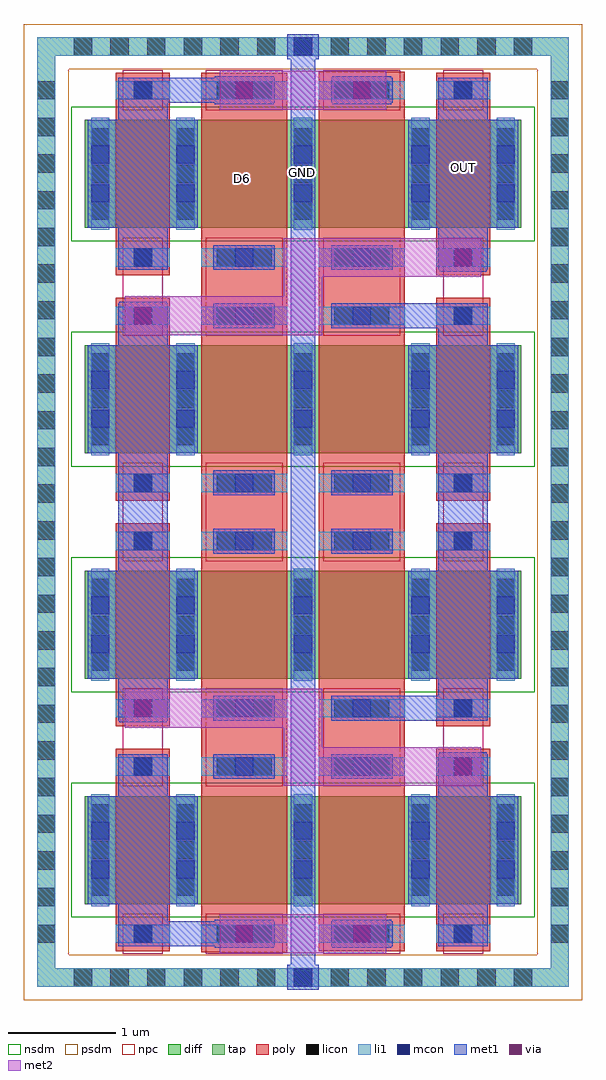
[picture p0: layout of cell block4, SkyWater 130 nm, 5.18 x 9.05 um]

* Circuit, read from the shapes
.subckt block4 D6 GND OUT
XM1 D6 D6 D6 GND sky130_fd_pr__nfet_01v8 w=1 l=0.5 m=4
XM2 OUT OUT OUT GND sky130_fd_pr__nfet_01v8 w=1 l=0.5 m=4
XM3 GND D6 D6 GND sky130_fd_pr__nfet_01v8 w=1 l=0.8 m=4
XM4 GND D6 OUT GND sky130_fd_pr__nfet_01v8 w=1 l=0.8 m=4
.ends

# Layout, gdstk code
import gdstk
lib = gdstk.Library(unit=1e-6, precision=1e-09)
def R(c, l, rs):  # rectangles x0, y0, x1, y1
    for r in rs: c.add(gdstk.rectangle(r[:2], r[2:], *l))
def A(c, l, x, y, w, h, nx, ny, dx, dy):  # array of equal rectangles
    R(c, l, [(x+i*dx, y+j*dy, x+i*dx+w, y+j*dy+h) for i in range(nx) for j in range(ny)])
diff = (65, 20)
tap = (65, 44)
poly = (66, 20)
licon = (66, 44)
li1 = (67, 20)
mcon = (67, 44)
met1 = (68, 20)
via = (68, 44)
met2 = (69, 20)
nsdm = (93, 44)
psdm = (94, 20)
npc = (95, 20)

sky130_fd_pr__nfet_01v8_ = lib.new_cell('sky130_fd_pr__nfet_01v8_V6EN4H')
A(sky130_fd_pr__nfet_01v8_, diff, -0.54, -3.635, 1.08, 1, 1, 4, 0, 2.09)
A(sky130_fd_pr__nfet_01v8_, poly, -0.25, -4.075, 0.5, 1.88, 1, 4, 0, 2.09)
A(sky130_fd_pr__nfet_01v8_, licon, -0.48, -3.56, 0.17, 0.17, 1, 3, 0, 0.34)
A(sky130_fd_pr__nfet_01v8_, licon, 0.31, -3.56, 0.17, 0.17, 1, 3, 0, 0.34)
A(sky130_fd_pr__nfet_01v8_, licon, -0.48, -1.47, 0.17, 0.17, 1, 3, 0, 0.34)
A(sky130_fd_pr__nfet_01v8_, licon, 0.31, -1.47, 0.17, 0.17, 1, 3, 0, 0.34)
A(sky130_fd_pr__nfet_01v8_, licon, -0.48, 0.62, 0.17, 0.17, 1, 3, 0, 0.34)
A(sky130_fd_pr__nfet_01v8_, licon, 0.31, 0.62, 0.17, 0.17, 1, 3, 0, 0.34)
A(sky130_fd_pr__nfet_01v8_, licon, -0.48, 2.71, 0.17, 0.17, 1, 3, 0, 0.34)
A(sky130_fd_pr__nfet_01v8_, licon, 0.31, 2.71, 0.17, 0.17, 1, 3, 0, 0.34)
R(sky130_fd_pr__nfet_01v8_, licon, [(-0.085,-3.995,0.085,-3.825), (-0.085,-2.445,0.085,-2.275), (-0.085,-1.905,0.085,-1.735), (-0.085,-0.355,0.085,-0.185), (-0.085,0.185,0.085,0.355), (-0.085,1.735,0.085,1.905), (-0.085,2.275,0.085,2.445), (-0.085,3.825,0.085,3.995)])
A(sky130_fd_pr__nfet_01v8_, li1, -0.48, -3.655, 0.17, 1.04, 1, 4, 0, 2.09)
A(sky130_fd_pr__nfet_01v8_, li1, 0.31, -3.655, 0.17, 1.04, 1, 4, 0, 2.09)
R(sky130_fd_pr__nfet_01v8_, li1, [(-0.25,-3.995,0.25,-3.825), (-0.25,-2.445,0.25,-2.275), (-0.25,-1.905,0.25,-1.735), (-0.25,-0.355,0.25,-0.185), (-0.25,0.185,0.25,0.355), (-0.25,1.735,0.25,1.905), (-0.25,2.275,0.25,2.445), (-0.25,3.825,0.25,3.995)])
R(sky130_fd_pr__nfet_01v8_, mcon, [(-0.085,-3.995,0.085,-3.825), (-0.48,-3.4,-0.31,-3.23), (0.31,-3.4,0.48,-3.23), (-0.48,-3.04,-0.31,-2.87), (0.31,-3.04,0.48,-2.87), (-0.085,-2.445,0.085,-2.275), (-0.085,-1.905,0.085,-1.735), (-0.48,-1.31,-0.31,-1.14), (0.31,-1.31,0.48,-1.14), (-0.48,-0.95,-0.31,-0.78), (0.31,-0.95,0.48,-0.78), (-0.085,-0.355,0.085,-0.185), (-0.085,0.185,0.085,0.355), (-0.48,0.78,-0.31,0.95), (0.31,0.78,0.48,0.95), (-0.48,1.14,-0.31,1.31), (0.31,1.14,0.48,1.31), (-0.085,1.735,0.085,1.905), (-0.085,2.275,0.085,2.445), (-0.48,2.87,-0.31,3.04), (0.31,2.87,0.48,3.04), (-0.48,3.23,-0.31,3.4), (0.31,3.23,0.48,3.4), (-0.085,3.825,0.085,3.995)])
A(sky130_fd_pr__nfet_01v8_, met1, -0.51, -3.635, 0.23, 1, 1, 4, 0, 2.09)
A(sky130_fd_pr__nfet_01v8_, met1, 0.28, -3.635, 0.23, 1, 1, 4, 0, 2.09)
R(sky130_fd_pr__nfet_01v8_, met1, [(-0.23,-4.025,0.23,-3.795), (-0.23,-2.475,0.23,-2.245), (-0.23,-1.935,0.23,-1.705), (-0.23,-0.385,0.23,-0.155), (-0.23,0.155,0.23,0.385), (-0.23,1.705,0.23,1.935), (-0.23,2.245,0.23,2.475), (-0.23,3.795,0.23,4.025)])
A(sky130_fd_pr__nfet_01v8_, nsdm, -0.665, -3.76, 1.33, 1.25, 1, 4, 0, 2.09)
A(sky130_fd_pr__nfet_01v8_, npc, -0.185, -2.545, 0.37, 0.91, 1, 3, 0, 2.09)
R(sky130_fd_pr__nfet_01v8_, npc, [(-0.185,-4.095,0.185,-3.725), (-0.185,3.725,0.185,4.095)])

c_sky130_fd_pr__nfet_01v8_ = lib.new_cell('sky130_fd_pr__nfet_01v8_FZ7FED')
A(c_sky130_fd_pr__nfet_01v8_, diff, -1.235, -3.635, 2.47, 1, 1, 4, 0, 2.09)
A(c_sky130_fd_pr__nfet_01v8_, poly, -0.945, -4.075, 0.8, 1.88, 1, 4, 0, 2.09)
A(c_sky130_fd_pr__nfet_01v8_, poly, 0.145, -4.075, 0.8, 1.88, 1, 4, 0, 2.09)
A(c_sky130_fd_pr__nfet_01v8_, licon, -1.175, -3.56, 0.17, 0.17, 3, 3, 1.09, 0.34)
A(c_sky130_fd_pr__nfet_01v8_, licon, -1.175, -1.47, 0.17, 0.17, 3, 3, 1.09, 0.34)
A(c_sky130_fd_pr__nfet_01v8_, licon, -1.175, 0.62, 0.17, 0.17, 3, 3, 1.09, 0.34)
A(c_sky130_fd_pr__nfet_01v8_, licon, -1.175, 2.71, 0.17, 0.17, 3, 3, 1.09, 0.34)
R(c_sky130_fd_pr__nfet_01v8_, licon, [(-0.8,-3.995,-0.63,-3.825), (-0.46,-3.995,-0.29,-3.825), (0.29,-3.995,0.46,-3.825), (0.63,-3.995,0.8,-3.825), (-0.8,-2.445,-0.63,-2.275), (-0.46,-2.445,-0.29,-2.275), (0.29,-2.445,0.46,-2.275), (0.63,-2.445,0.8,-2.275), (-0.8,-1.905,-0.63,-1.735), (-0.46,-1.905,-0.29,-1.735), (0.29,-1.905,0.46,-1.735), (0.63,-1.905,0.8,-1.735), (-0.8,-0.355,-0.63,-0.185), (-0.46,-0.355,-0.29,-0.185), (0.29,-0.355,0.46,-0.185), (0.63,-0.355,0.8,-0.185), (-0.8,0.185,-0.63,0.355), (-0.46,0.185,-0.29,0.355), (0.29,0.185,0.46,0.355), (0.63,0.185,0.8,0.355), (-0.8,1.735,-0.63,1.905), (-0.46,1.735,-0.29,1.905), (0.29,1.735,0.46,1.905), (0.63,1.735,0.8,1.905), (-0.8,2.275,-0.63,2.445), (-0.46,2.275,-0.29,2.445), (0.29,2.275,0.46,2.445), (0.63,2.275,0.8,2.445), (-0.8,3.825,-0.63,3.995), (-0.46,3.825,-0.29,3.995), (0.29,3.825,0.46,3.995), (0.63,3.825,0.8,3.995)])
A(c_sky130_fd_pr__nfet_01v8_, li1, -1.175, -3.655, 0.17, 1.04, 3, 4, 1.09, 2.09)
R(c_sky130_fd_pr__nfet_01v8_, li1, [(-0.945,-3.995,-0.145,-3.825), (0.145,-3.995,0.945,-3.825), (-0.945,-2.445,-0.145,-2.275), (0.145,-2.445,0.945,-2.275), (-0.945,-1.905,-0.145,-1.735), (0.145,-1.905,0.945,-1.735), (-0.945,-0.355,-0.145,-0.185), (0.145,-0.355,0.945,-0.185), (-0.945,0.185,-0.145,0.355), (0.145,0.185,0.945,0.355), (-0.945,1.735,-0.145,1.905), (0.145,1.735,0.945,1.905), (-0.945,2.275,-0.145,2.445), (0.145,2.275,0.945,2.445), (-0.945,3.825,-0.145,3.995), (0.145,3.825,0.945,3.995)])
A(c_sky130_fd_pr__nfet_01v8_, mcon, -1.175, -3.4, 0.17, 0.17, 3, 2, 1.09, 0.36)
A(c_sky130_fd_pr__nfet_01v8_, mcon, -1.175, -1.31, 0.17, 0.17, 3, 2, 1.09, 0.36)
A(c_sky130_fd_pr__nfet_01v8_, mcon, -1.175, 0.78, 0.17, 0.17, 3, 2, 1.09, 0.36)
A(c_sky130_fd_pr__nfet_01v8_, mcon, -1.175, 2.87, 0.17, 0.17, 3, 2, 1.09, 0.36)
R(c_sky130_fd_pr__nfet_01v8_, mcon, [(-0.63,-3.995,-0.46,-3.825), (0.46,-3.995,0.63,-3.825), (-0.63,-2.445,-0.46,-2.275), (0.46,-2.445,0.63,-2.275), (-0.63,-1.905,-0.46,-1.735), (0.46,-1.905,0.63,-1.735), (-0.63,-0.355,-0.46,-0.185), (0.46,-0.355,0.63,-0.185), (-0.63,0.185,-0.46,0.355), (0.46,0.185,0.63,0.355), (-0.63,1.735,-0.46,1.905), (0.46,1.735,0.63,1.905), (-0.63,2.275,-0.46,2.445), (0.46,2.275,0.63,2.445), (-0.63,3.825,-0.46,3.995), (0.46,3.825,0.63,3.995)])
A(c_sky130_fd_pr__nfet_01v8_, met1, -1.205, -3.635, 0.23, 1, 3, 4, 1.09, 2.09)
R(c_sky130_fd_pr__nfet_01v8_, met1, [(-0.83,-4.025,-0.26,-3.795), (0.26,-4.025,0.83,-3.795), (-0.83,-2.475,-0.26,-2.245), (0.26,-2.475,0.83,-2.245), (-0.83,-1.935,-0.26,-1.705), (0.26,-1.935,0.83,-1.705), (-0.83,-0.385,-0.26,-0.155), (0.26,-0.385,0.83,-0.155), (-0.83,0.155,-0.26,0.385), (0.26,0.155,0.83,0.385), (-0.83,1.705,-0.26,1.935), (0.26,1.705,0.83,1.935), (-0.83,2.245,-0.26,2.475), (0.26,2.245,0.83,2.475), (-0.83,3.795,-0.26,4.025), (0.26,3.795,0.83,4.025)])
A(c_sky130_fd_pr__nfet_01v8_, nsdm, -1.36, -3.76, 2.72, 1.25, 1, 4, 0, 2.09)
A(c_sky130_fd_pr__nfet_01v8_, npc, -0.9, -2.545, 0.71, 0.91, 1, 3, 0, 2.09)
A(c_sky130_fd_pr__nfet_01v8_, npc, 0.19, -2.545, 0.71, 0.91, 1, 3, 0, 2.09)
R(c_sky130_fd_pr__nfet_01v8_, npc, [(-0.9,-4.095,-0.19,-3.725), (0.19,-4.095,0.9,-3.725), (-0.9,3.725,-0.19,4.095), (0.19,3.725,0.9,4.095)])

block4 = lib.new_cell('block4')
R(block4, tap, [(-1.23,-0.325,3.7,-0.155), (-1.23,-0.155,-1.06,8.305), (3.53,-0.155,3.7,8.305), (-1.23,8.305,3.7,8.475)])
R(block4, poly, [(0.29,-0.005,1.09,8.15), (1.38,0,2.18,8.155)])
A(block4, licon, -0.89, -0.325, 0.17, 0.17, 13, 2, 0.34, 8.63)
A(block4, licon, -1.23, 0.08, 0.17, 0.17, 1, 24, 0, 0.34)
A(block4, licon, 3.53, 0.08, 0.17, 0.17, 1, 24, 0, 0.34)
R(block4, li1, [(-1.23,-0.325,3.7,-0.155), (-1.23,-0.155,-1.06,8.305), (3.53,-0.155,3.7,8.305), (-1.23,8.305,3.7,8.475)])
R(block4, mcon, [(1.15,-0.325,1.32,-0.155), (1.15,8.305,1.32,8.475)])
A(block4, met1, -0.76, 0.44, 1.02, 1, 1, 4, 0, 2.09)
A(block4, met1, 2.21, 0.44, 1.02, 1, 1, 4, 0, 2.09)
R(block4, met1, [(1.09,-0.355,1.38,-0.125), (1.12,-0.125,1.35,8.275), (0.415,0.035,0.965,0.05), (1.505,0.035,2.055,0.295), (-0.48,0.05,0.975,0.28), (2.49,0.05,2.95,0.44), (-0.48,0.28,-0.02,0.44), (0.415,0.28,0.965,0.295), (-0.48,1.44,-0.02,1.83), (2.49,1.44,2.95,1.83), (2.5,1.83,2.94,1.845), (-0.47,2.125,-0.03,2.145), (1.495,2.14,2.95,2.37), (-0.48,2.145,-0.02,2.53), (2.49,2.37,2.95,2.53), (-0.48,3.53,-0.02,4.62), (2.49,3.53,2.95,4.62), (-0.48,5.62,-0.02,6.01), (2.49,5.62,2.95,5.78), (1.495,5.78,2.95,6.01), (-0.47,6.01,-0.03,6.025), (2.5,6.305,2.94,6.32), (-0.48,6.32,-0.02,6.71), (2.49,6.32,2.95,6.71), (-0.48,7.71,-0.02,7.87), (2.49,7.71,2.95,8.1), (0.415,7.855,0.965,7.87), (1.505,7.855,2.055,8.115), (-0.48,7.87,0.975,8.1), (0.415,8.1,0.965,8.115), (1.09,8.275,1.38,8.505)])
R(block4, via, [(0.615,0.09,0.765,0.24), (1.705,0.09,1.855,0.24), (2.645,1.64,2.795,1.79), (-0.325,2.18,-0.175,2.33), (-0.325,5.82,-0.175,5.97), (2.645,6.36,2.795,6.51), (0.615,7.91,0.765,8.06), (1.705,7.91,1.855,8.06)])
R(block4, met2, [(0.465,-0.015,2.005,0.345), (1.055,1.535,2.89,1.895), (1.055,1.895,1.415,2.075), (-0.42,2.075,1.415,2.435), (-0.42,5.715,1.415,6.075), (1.055,6.075,1.415,6.255), (1.055,6.255,2.89,6.615), (0.465,7.805,2.005,8.165)])
R(block4, psdm, [(-1.355,-0.45,3.825,-0.03), (-1.355,-0.03,-0.935,8.18), (3.405,-0.03,3.825,8.18), (-1.355,8.18,3.825,8.6)])
block4.add(gdstk.Reference(sky130_fd_pr__nfet_01v8_, (2.72,4.075)))
block4.add(gdstk.Reference(sky130_fd_pr__nfet_01v8_, (-0.25,4.075)))
block4.add(gdstk.Reference(c_sky130_fd_pr__nfet_01v8_, (1.235,4.075)))
block4.add(gdstk.Label('D6', (0.67,7.17), layer=66, texttype=5))
block4.add(gdstk.Label('OUT', (2.72,7.27), layer=68, texttype=5))
block4.add(gdstk.Label('GND', (1.23,7.22), layer=68, texttype=5))

lib.write_gds('block4.gds')
